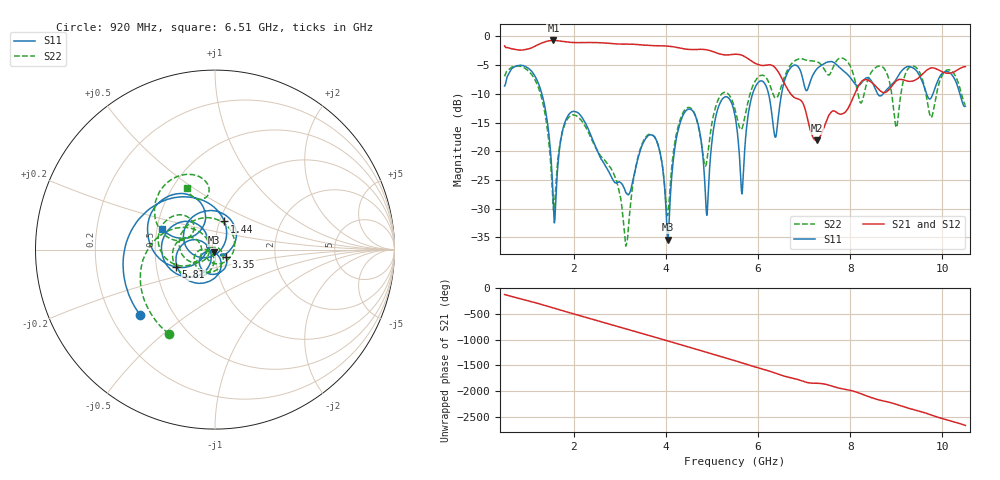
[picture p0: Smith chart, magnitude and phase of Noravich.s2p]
!Agilent Technologies,N5230C,MY49000750,A.09.42.22
!Agilent N5230C: A.09.42.22
!Date: Friday, December 19, 2025 12:09:48
!Correction: S11(Full 2 Port(1,2))
!S21(Full 2 Port(1,2))
!S12(Full 2 Port(1,2))
!S22(Full 2 Port(1,2))
!S2P File: Measurements: S11, S21, S12, S22:
# Hz S  RI  R 50
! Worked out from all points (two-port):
!   1001 points, 500 MHz to 10.5 GHz, reference 50 ohm
!   highest |S21| = -0.70 dB at 1.56 GHz (marker M1); lowest = -18.1 dB at 7.27 GHz (marker M2)
!   |S21| within 3 dB of the highest: start of sweep to 5.751 GHz
!   lowest |S11| = -35.4 dB at 4.04 GHz (marker M3), VSWR 1.03, Z = 49.2 - j1.48 ohm
!   |S11| at or under -10 dB: 1.308 GHz to 5.881 GHz (4.573 GHz wide, 127 % of centre); 6.228 GHz to 6.511 GHz (283 MHz wide, 4.44 % of centre); 9.657 GHz to 9.796 GHz (138.5 MHz wide, 1.42 % of centre)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
!   |S22| runs from -36.5 to -3.8 dB; largest |S21 - S12| = 0.0032
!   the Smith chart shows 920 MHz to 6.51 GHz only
!   S11 on the Smith chart (normalised r, x): 920 MHz: 0.32, -0.34; 1.44 GHz: 1.05, +0.34; 3.35 GHz: 1.13, -0.09; 5.81 GHz: 0.63, -0.13; 6.51 GHz: 0.53, +0.13
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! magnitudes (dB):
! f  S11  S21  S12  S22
! 500 MHz  -8.6  -1.6  -1.7  -7.0
! 920 MHz  -5.1  -2.3  -2.3  -5.4
! 1.44 GHz  -15.6  -0.8  -0.8  -16.9
! 1.56 GHz  -29.4  -0.7  -0.7  -30.1
! 1.81 GHz  -14.9  -0.9  -0.9  -15.2
! 2.17 GHz  -14.0  -1.1  -1.1  -14.7
! 3.13 GHz  -27.2  -1.3  -1.3  -36.5
! 3.35 GHz  -22.7  -1.4  -1.4  -22.6
! 3.84 GHz  -19.1  -1.6  -1.6  -19.1
! 4.04 GHz  -35.4  -1.7  -1.7  -31.2
! 4.41 GHz  -13.2  -2.2  -2.2  -12.8
! 4.89 GHz  -31.1  -2.4  -2.3  -21.6
! 5.15 GHz  -12.1  -3.0  -3.0  -10.7
! 5.5 GHz  -13.8  -3.1  -3.1  -12.7
! 5.65 GHz  -27.4  -3.3  -3.3  -16.1
! 5.81 GHz  -12.5  -4.0  -4.0  -10.5
! 6.51 GHz  -10.0  -7.2  -7.2  -8.5
! 7.17 GHz  -7.1  -17.2  -17.2  -4.2
! 7.27 GHz  -5.7  -18.1  -18.1  -4.4
! 8.84 GHz  -8.9  -9.3  -9.3  -7.5
! 9 GHz  -7.4  -7.7  -7.8  -15.9
! 10.5 GHz  -12.2  -5.3  -5.3  -11.9
